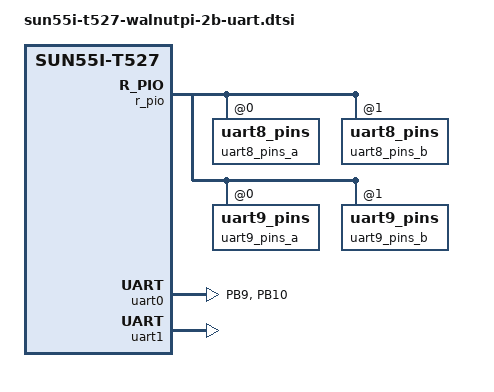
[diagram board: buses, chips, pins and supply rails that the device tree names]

&pio {
		uart0_pins_a: uart0_pins@0 {
		pins = "PB9", "PB10";
		function = "uart0";
	};

	uart0_pins_b: uart0_pins@1 {
		pins = "PB9", "PB10";
		function = "gpio_in";
	};

	uart2_pins_a: uart2_pins@0 {
		pins = "PB0", "PB1";
		function = "uart2";
	};

	uart2_pins_b: uart2_pins@1 {
		pins = "PB0", "PB1";
		function = "gpio_in";
	};

	uart3_pins_a: uart3_pins@0 {
		pins = "PD14", "PD15";
		function = "uart3";
	};

	uart3_pins_b: uart3_pins@1 {
		pins = "PD14", "PD15";
		function = "gpio_in";
	};

	uart4_pins_a: uart4_pins@0 {
		pins = "PD18", "PD19";
		function = "uart4";
	};

	uart4_pins_b: uart4_pins@1 {
		pins = "PD18", "PD19";
		function = "gpio_in";
	};

	uart5_pins_a: uart5_pins@0 {
		pins = "PE11", "PE12";
		function = "uart5";
	};

	uart5_pins_b: uart5_pins@1 {
		pins = "PE11", "PE12";
		function = "gpio_in";
	};

	uart6_pins_a: uart6_pins@0 {
		pins = "PI6", "PI7";
		function = "uart6";
	};

	uart6_pins_b: uart6_pins@1 {
		pins = "PI6", "PI7";
		function = "gpio_in";
	};

	uart7_pins_a: uart7_pins@0 {
		pins = "PB11", "PB12";
		function = "uart7";
	};

	uart7_pins_b: uart7_pins@1 {
		pins = "PB11", "PB12";
		function = "gpio_in";
	};
};

&r_pio {
	uart8_pins_a: uart8_pins@0 {
		pins = "PL2", "PL3";
		function = "s_uart0";
	};

	uart8_pins_b: uart8_pins@1 {
		pins = "PL2", "PL3";
		function = "gpio_in";
	};

	uart9_pins_a: uart9_pins@0 {
		pins = "PM0", "PM1";
		function = "s_uart1";
	};

	uart9_pins_b: uart9_pins@1 {
		pins = "PM0", "PM1";
		function = "gpio_in";
	};
};

&uart0 {
	pinctrl-names = "default", "sleep";
	pinctrl-0 = <&uart0_pins_a>;
	pinctrl-1 = <&uart0_pins_b>;
	uart-supply = <&reg_cldo3>;
	status = "okay";
};

&uart1 {
	status = "okay";
};

&uart2 {
	pinctrl-names = "default", "sleep";
	pinctrl-0 = <&uart2_pins_a>;
	pinctrl-1 = <&uart2_pins_b>;
	status = "disabled";
};

&uart3 {
	pinctrl-names = "default", "sleep";
	pinctrl-0 = <&uart3_pins_a>;
	pinctrl-1 = <&uart3_pins_b>;
	status = "disabled";
};

&uart4 {
	pinctrl-names = "default", "sleep";
	pinctrl-0 = <&uart4_pins_a>;
	pinctrl-1 = <&uart4_pins_b>;
	status = "disabled";
};

&uart5 {
	pinctrl-names = "default", "sleep";
	pinctrl-0 = <&uart5_pins_a>;
	pinctrl-1 = <&uart5_pins_b>;
	status = "disabled";
};

&uart6 {
	pinctrl-names = "default", "sleep";
	pinctrl-0 = <&uart6_pins_a>;
	pinctrl-1 = <&uart6_pins_b>;
	status = "disabled";
};

&uart7 {
	pinctrl-names = "default", "sleep";
	pinctrl-0 = <&uart7_pins_a>;
	pinctrl-1 = <&uart7_pins_b>;
	status = "disabled";
};

&uart8 {
	pinctrl-names = "default", "sleep";
	pinctrl-0 = <&uart8_pins_a>;
	pinctrl-1 = <&uart8_pins_b>;
	status = "disabled";
};

&uart9 {
	pinctrl-names = "default", "sleep";
	pinctrl-0 = <&uart9_pins_a>;
	pinctrl-1 = <&uart9_pins_b>;
	status = "disabled";
};
